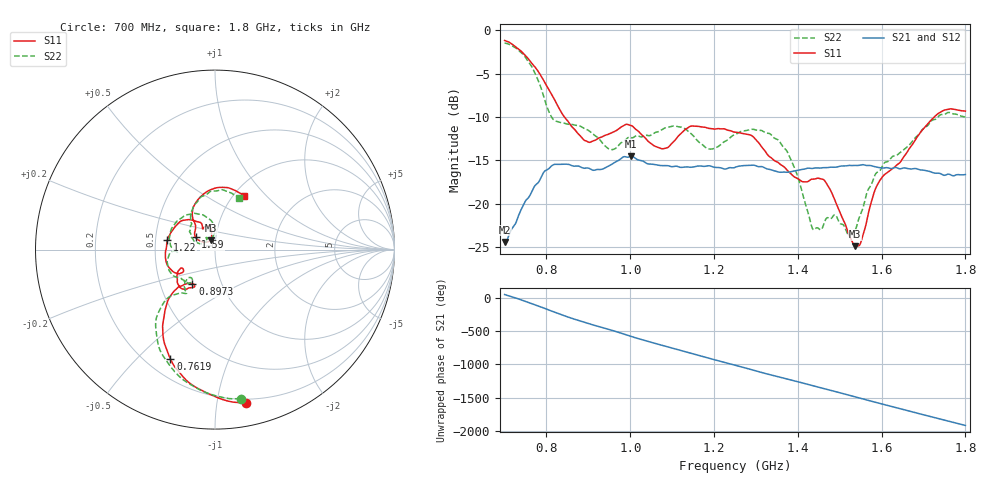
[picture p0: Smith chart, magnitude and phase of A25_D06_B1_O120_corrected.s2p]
! Created with skrf 1.9.0 (http://scikit-rf.org).
# Hz S RI R 50.0
!freq ReS11 ImS11 ReS21 ImS21 ReS12 ImS12 ReS22 ImS22
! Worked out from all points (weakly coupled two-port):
!   1601 points, 700 MHz to 1.8 GHz, reference 50 ohm
!   highest |S21| = -14.53 dB at 1.002 GHz (marker M1); lowest = -24.4 dB at 700.7 MHz (marker M2)
!   lowest |S11| = -24.9 dB at 1.537 GHz (marker M3), VSWR 1.12, Z = 47.3 + j4.9 ohm
!   |S11| at or under -10 dB: 842.9 MHz to 1.726 GHz (882.7 MHz wide, 68.7 % of centre)
!   |S22| runs from -23.6 to -1.5 dB; largest |S21 - S12| = 0.0034
!   S11 on the Smith chart (normalised r, x): 700 MHz: 0.17, -1.21; 761.9 MHz: 0.29, -0.63; 897.3 MHz: 0.73, -0.29; 1.22 GHz: 0.58, +0.06; 1.59 GHz: 0.80, +0.11; 1.8 GHz: 1.12, +0.76
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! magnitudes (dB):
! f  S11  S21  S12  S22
! 700 MHz  -1.2  -24.4  -24.2  -1.5
! 700.7 MHz  -1.2  -24.4  -24.1  -1.5
! 761.9 MHz  -3.6  -18.9  -18.8  -4.0
! 815.5 MHz  -7.7  -15.5  -15.6  -10.2
! 883.6 MHz  -12.3  -15.8  -15.7  -11.1
! 897.3 MHz  -12.8  -15.9  -15.9  -11.5
! 953.7 MHz  -11.9  -15.5  -15.5  -13.8
! 1.002 GHz  -11.0  -14.5  -14.6  -12.4
! 1.067 GHz  -13.5  -15.6  -15.5  -11.7
! 1.144 GHz  -11.1  -15.8  -15.8  -11.9
! 1.22 GHz  -11.4  -15.9  -15.9  -13.0
! 1.25 GHz  -11.7  -15.8  -15.7  -12.0
! 1.356 GHz  -15.4  -16.3  -16.3  -12.8
! 1.394 GHz  -17.0  -16.2  -16.2  -16.1
! 1.434 GHz  -17.2  -15.9  -15.9  -22.7
! 1.469 GHz  -17.7  -15.8  -15.8  -21.6
! 1.537 GHz  -24.9  -15.6  -15.6  -23.1
! 1.551 GHz  -24.3  -15.5  -15.5  -21.0
! 1.59 GHz  -17.8  -15.8  -15.8  -16.4
! 1.617 GHz  -16.3  -15.9  -15.8  -15.0
! 1.733 GHz  -9.7  -16.5  -16.5  -10.1
! 1.8 GHz  -9.3  -16.6  -16.6  -10.0
